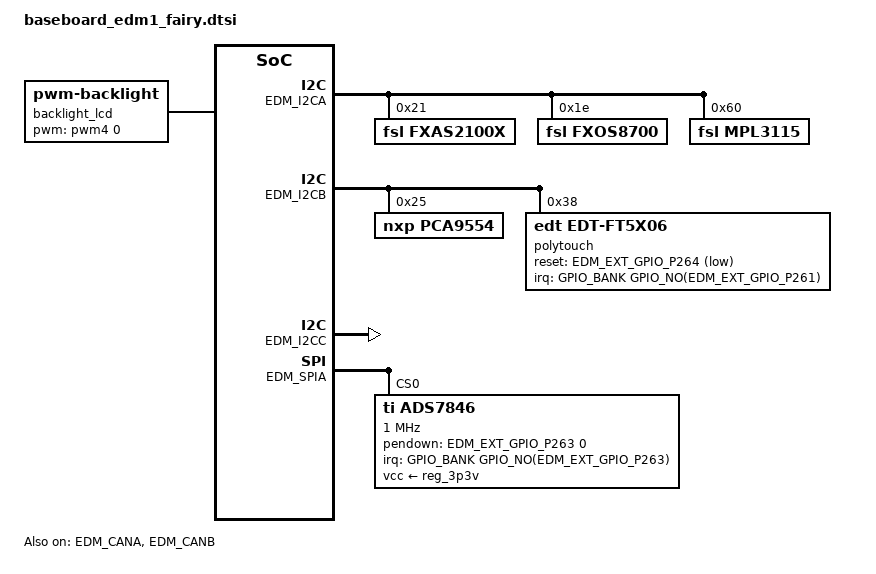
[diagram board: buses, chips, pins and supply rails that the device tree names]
/*
 * Copyright 2018 Technexion Ltd.
 *
 * Author: Tapani Utriainen <tapani@technexion.com>
 *         Richard Hu <richard.hu@technexion.com>
 *
 * This program is free software; you can redistribute it and/or modify
 * it under the terms of the GNU General Public License version 2 as
 * published by the Free Software Foundation.
 *
 */

#include <tnmacro.h>

/ {
	gpio-edm {
		compatible = "gpio-edm";
#ifdef EDM1_EXT_FT5X06_IOMUX_FAIRY
		pinctrl-names = "default";
		pinctrl-0 = <EDM1_EXT_FT5X06_IOMUX_FAIRY>; /* Touch IRQ and Touch Reset */   
#else
		gpio_p261 {
			label = "GPIO_P261";
			gpios = <&EDM_EXT_GPIO_P261 GPIO_ACTIVE_HIGH>;
			dir   = "out";
		};
		
		gpio_p264 {
			label = "GPIO_P264";
			gpios = <&EDM_EXT_GPIO_P264 GPIO_ACTIVE_HIGH>;
			dir   = "out";
		};
#endif
		gpio_p256 {
			label = "GPIO_P256";
			gpios = <&EDM_EXT_GPIO_P256 GPIO_ACTIVE_HIGH>;
			dir   = "out";
		};
/*
		gpio_p257 {
			label = "GPIO_P257";
			gpios = <&EDM_EXT_GPIO_P257 GPIO_ACTIVE_HIGH>;
			dir   = "out";
		};
*/
		gpio_p258 {
			label = "GPIO_P258";
			gpios = <&EDM_EXT_GPIO_P258 GPIO_ACTIVE_HIGH>;
			dir   = "out";
		};

		gpio_p260 {
			label = "GPIO_P260";
			gpios = <&EDM_EXT_GPIO_P260 GPIO_ACTIVE_HIGH>;
			dir   = "out";
		};

		gpio_p262 {
			label = "GPIO_P262";
			gpios = <&EDM_EXT_GPIO_P262 GPIO_ACTIVE_HIGH>;
			dir   = "out";
		};

	};
	
	backlight_lcd {
		compatible = "pwm-backlight";
		pwms = <&pwm4 0 50000 0>;
		brightness-levels = <0 36 72 108 144 180 216 255>;
		default-brightness-level = <6>;
		status = "okay";
	};
	
};

&EDM_I2CA {
	status = "okay";

	fxas2100x@21 {
		compatible = "fsl,fxas2100x";
		reg = <0x21>;
	};

	fxos8700@1e {
		compatible = "fsl,fxos8700";
		reg = <0x1e>;
	};

	mpl3115@60 {
		compatible = "fsl,mpl3115";
		reg = <0x60>;
	};
};

&EDM_I2CB {
	status = "okay";

	pca9554: pca9554@25 {
		compatible = "nxp,pca9554";
		gpio-controller;
		#gpio-cells = <2>;
		#interrupt-cells = <2>;
		reg = <0x25>;
	};

	polytouch: edt-ft5x06@38 {
		compatible = "edt,edt-ft5x06";
		reg = <0x38>;
		interrupt-parent = <&GPIO_BANK(EDM_EXT_GPIO_P261)>; /* GPIO_P261 J1B-261 */
		reset-gpios = <&EDM_EXT_GPIO_P264 GPIO_ACTIVE_LOW>; /* GPIO_P264 J1B-264 */
		interrupts = <GPIO_NO(EDM_EXT_GPIO_P261) 0>;
		touchscreen-size-x = <800>;
		touchscreen-size-y = <480>;
	};
	
};

&EDM_I2CC {
	status = "okay";
};

&EDM_CANA {
	status = "okay";
};

&EDM_CANB {
	status = "okay";
};

&EDM_SPIA {
	status = "okay";

	ads7846@0 {
		reg = <0>;  /* CS0 */
		compatible = "ti,ads7846";
		interrupt-parent = <&GPIO_BANK(EDM_EXT_GPIO_P263)>;
		interrupts = <GPIO_NO(EDM_EXT_GPIO_P263) 0>;
		spi-max-frequency = <1000000>;
		pendown-gpio = <&EDM_EXT_GPIO_P263 0>;
		vcc-supply = <&reg_3p3v>;

		ti,x-min = /bits/ 16 <0>;
		ti,x-max = /bits/ 16 <4095>;
		ti,y-min = /bits/ 16 <0>;
		ti,y-max = /bits/ 16 <4095>;
		ti,pressure-max = /bits/ 16 <1024>;
		ti,x-plate-ohms = /bits/ 16 <90>;
		ti,y-plate-ohms = /bits/ 16 <90>;
		ti,debounce-max = /bits/ 16 <70>;
		ti,debounce-tol = /bits/ 16 <3>;
		ti,debounce-rep = /bits/ 16 <2>;
		ti,settle-delay-usec = /bits/ 16 <150>;

		linux,wakeup;
	};
};
